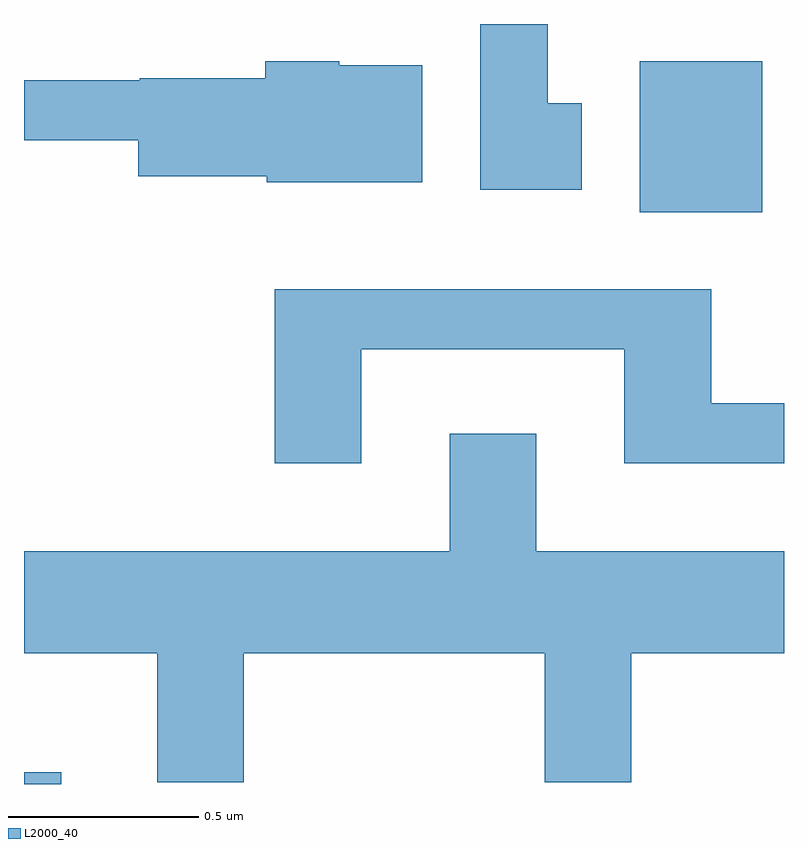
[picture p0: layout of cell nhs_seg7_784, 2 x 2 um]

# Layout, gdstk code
import gdstk
lib = gdstk.Library(unit=1e-6, precision=1e-09)
def R(c, l, rs):  # rectangles x0, y0, x1, y1
    for r in rs: c.add(gdstk.rectangle(r[:2], r[2:], *l))
def P(c, l, *ps):  # polygons
    for p in ps: c.add(gdstk.Polygon(p, *l))
L2000_40 = (2000, 40)

nhs_seg7_784 = lib.new_cell('nhs_seg7_784')
R(nhs_seg7_784, L2000_40, [(190.611,1767.252,190.709,1767.283), (192.231,1768.756,192.554,1769.154)])
P(nhs_seg7_784, L2000_40, [(192.079,1769.044),(191.989,1769.044),(191.989,1769.252),(191.811,1769.252),(191.811,1768.816),(192.079,1768.816)],
  [(191.659,1769.144),(191.44,1769.144),(191.44,1769.154),(191.246,1769.154),(191.246,1769.109),(190.915,1769.109),(190.915,1769.104),(190.611,1769.104),(190.611,1768.946),(190.911,1768.946),(190.911,1768.851),(191.25,1768.851),(191.25,1768.836),(191.659,1768.836)],
  [(191.499,1768.396),(192.191,1768.396),(192.191,1768.096),(192.611,1768.096),(192.611,1768.254),(192.419,1768.254),(192.419,1768.554),(191.271,1768.554),(191.271,1768.096),(191.499,1768.096)],
  [(191.189,1767.596),(191.981,1767.596),(191.981,1767.256),(192.209,1767.256),(192.209,1767.596),(192.611,1767.596),(192.611,1767.864),(191.959,1767.864),(191.959,1768.174),(191.731,1768.174),(191.731,1767.864),(190.611,1767.864),(190.611,1767.596),(190.961,1767.596),(190.961,1767.256),(191.189,1767.256)])

lib.write_gds('nhs_seg7_784.gds')
